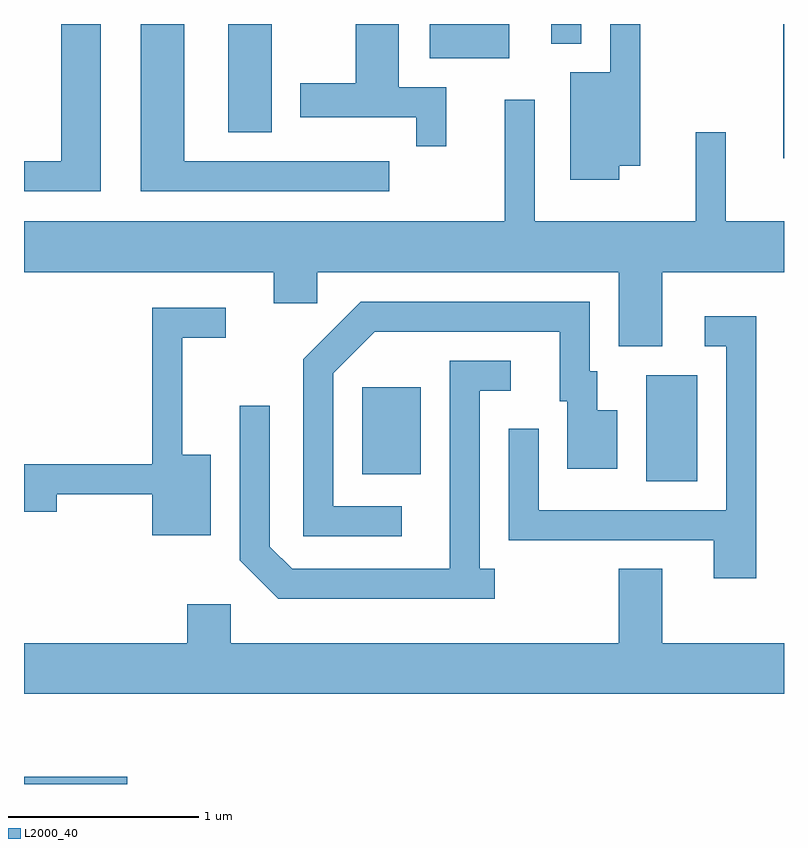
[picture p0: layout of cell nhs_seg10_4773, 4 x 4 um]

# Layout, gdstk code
import gdstk
lib = gdstk.Library(unit=1e-6, precision=1e-09)
def R(c, l, rs):  # rectangles x0, y0, x1, y1
    for r in rs: c.add(gdstk.rectangle(r[:2], r[2:], *l))
def P(c, l, *ps):  # polygons
    for p in ps: c.add(gdstk.Polygon(p, *l))
L2000_40 = (2000, 40)

nhs_seg10_4773 = lib.new_cell('nhs_seg10_4773')
R(nhs_seg10_4773, L2000_40, [(325.611,2144.522,326.154,2144.559), (328.886,2146.116,329.154,2146.674), (327.391,2146.151,327.699,2146.609), (329.606,2147.816,329.611,2148.522), (326.686,2147.951,326.914,2148.522), (327.746,2148.341,328.164,2148.522), (328.386,2148.418,328.544,2148.522)])
P(nhs_seg10_4773, L2000_40, [(327.834,2148.189),(327.584,2148.189),(327.584,2148.522),(327.356,2148.522),(327.356,2148.209),(327.066,2148.209),(327.066,2148.031),(327.676,2148.031),(327.676,2147.878),(327.834,2147.878)],
  [(328.744,2147.776),(328.854,2147.776),(328.854,2148.522),(328.696,2148.522),(328.696,2148.269),(328.486,2148.269),(328.486,2147.701),(328.744,2147.701)],
  [(326.014,2148.522),(325.806,2148.522),(325.806,2147.799),(325.611,2147.799),(325.611,2147.641),(326.014,2147.641)],
  [(327.533,2147.799),(326.454,2147.799),(326.454,2148.522),(326.226,2148.522),(326.226,2147.641),(327.533,2147.641)],
  [(328.969,2147.216),(329.611,2147.216),(329.611,2147.484),(329.304,2147.484),(329.304,2147.953),(329.146,2147.953),(329.146,2147.484),(328.299,2147.484),(328.299,2148.123),(328.141,2148.123),(328.141,2147.484),(325.611,2147.484),(325.611,2147.216),(326.926,2147.216),(326.926,2147.051),(327.154,2147.051),(327.154,2147.216),(328.741,2147.216),(328.741,2146.826),(328.969,2146.826)],
  [(327.598,2145.984),(327.239,2145.984),(327.239,2146.684),(327.457,2146.901),(328.431,2146.901),(328.431,2146.536),(328.471,2146.536),(328.471,2146.181),(328.734,2146.181),(328.734,2146.489),(328.629,2146.489),(328.629,2146.694),(328.589,2146.694),(328.589,2147.059),(327.384,2147.059),(327.081,2146.757),(327.081,2145.826),(327.598,2145.826)],
  [(326.594,2146.254),(326.444,2146.254),(326.444,2146.871),(326.673,2146.871),(326.673,2147.029),(326.286,2147.029),(326.286,2146.204),(325.611,2146.204),(325.611,2145.956),(325.784,2145.956),(325.784,2146.046),(326.286,2146.046),(326.286,2145.831),(326.594,2145.831)],
  [(329.464,2146.984),(329.193,2146.984),(329.193,2146.826),(329.306,2146.826),(329.306,2145.964),(328.319,2145.964),(328.319,2146.393),(328.161,2146.393),(328.161,2145.806),(329.241,2145.806),(329.241,2145.606),(329.464,2145.606)],
  [(328.088,2145.654),(328.009,2145.654),(328.009,2146.591),(328.173,2146.591),(328.173,2146.749),(327.851,2146.749),(327.851,2145.654),(327.022,2145.654),(326.904,2145.772),(326.904,2146.513),(326.746,2146.513),(326.746,2145.699),(326.949,2145.496),(328.088,2145.496)],
  [(329.611,2145.264),(328.969,2145.264),(328.969,2145.654),(328.741,2145.654),(328.741,2145.264),(326.699,2145.264),(326.699,2145.469),(326.471,2145.469),(326.471,2145.264),(325.611,2145.264),(325.611,2144.996),(329.611,2144.996)])

lib.write_gds('nhs_seg10_4773.gds')
